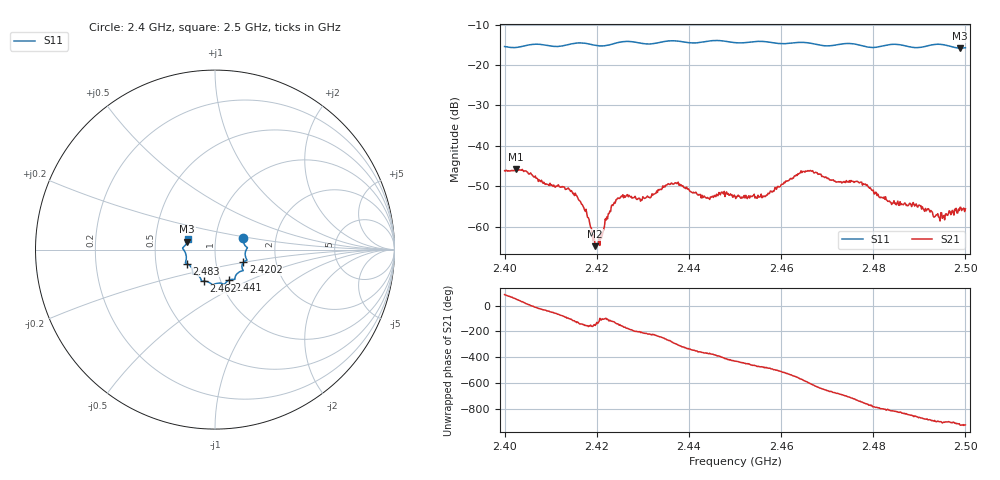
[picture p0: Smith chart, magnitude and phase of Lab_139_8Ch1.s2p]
# Hz S RI R 50
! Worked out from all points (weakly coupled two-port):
!   601 points, 2.4 GHz to 2.5 GHz, reference 50 ohm
!   highest |S21| = -45.76 dB at 2.4025 GHz (marker M1); lowest = -64.8 dB at 2.4197 GHz (marker M2)
!   lowest |S11| = -15.8 dB at 2.4988 GHz (marker M3), VSWR 1.39, Z = 36.4 + j3.29 ohm
!   |S11| at or under -10 dB: start of sweep to end of sweep
!   S12 and S22 are empty: the file has one direction only
!   S11 on the Smith chart (normalised r, x): 2.4 GHz: 1.36, +0.18; 2.4202 GHz: 1.36, -0.20; 2.441 GHz: 1.10, -0.39; 2.462 GHz: 0.84, -0.30; 2.483 GHz: 0.72, -0.12; 2.5 GHz: 0.73, +0.09
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2.4e9  0.1572 0.0628  0.0004 0.00493  0 0  0 0
2.4025e9  0.1615 0.0333  0.00334 0.00392  0 0  0 0
2.414e9  0.1729 -0.0485  -0.000604 -0.00285  0 0  0 0
2.416667e9  0.1777 -0.0593  -0.00151 -0.00117  0 0  0 0
2.419667e9  0.1616 -0.0676  -0.000521 -0.00025  0 0  0 0
2.420167e9  0.1583 -0.0707  -0.000466 -0.000402  0 0  0 0
2.422333e9  0.1499 -0.0907  -0.000319 -0.00122  0 0  0 0
2.424667e9  0.1542 -0.1106  -0.00185 -0.00133  0 0  0 0
2.43e9  0.136 -0.1243  -0.00202 0.00123  0 0  0 0
2.433333e9  0.1129 -0.1507  -0.00158 0.00243  0 0  0 0
2.437167e9  0.1085 -0.1664  0.00155 0.00315  0 0  0 0
2.441e9  0.0785 -0.17  0.0026 0.000654  0 0  0 0
2.45e9  0.0285 -0.1867  0.000823 -0.00224  0 0  0 0
2.456333e9  -0.0156 -0.1944  -0.00125 -0.00206  0 0  0 0
2.462e9  -0.0603 -0.1756  -0.00394 -0.000277  0 0  0 0
2.466667e9  -0.0771 -0.168  -0.00164 0.00458  0 0  0 0
2.477e9  -0.1253 -0.124  0.00326 -0.00127  0 0  0 0
2.483e9  -0.1587 -0.0776  0.000191 -0.00212  0 0  0 0
2.483333e9  -0.1605 -0.0768  6.11e-05 -0.00207  0 0  0 0
2.494e9  -0.1804 0.00747  -0.00145 -0.000149  0 0  0 0
2.498833e9  -0.1554 0.044  -0.00159 0.000721  0 0  0 0
2.5e9  -0.1518 0.061  -0.00153 0.000678  0 0  0 0
